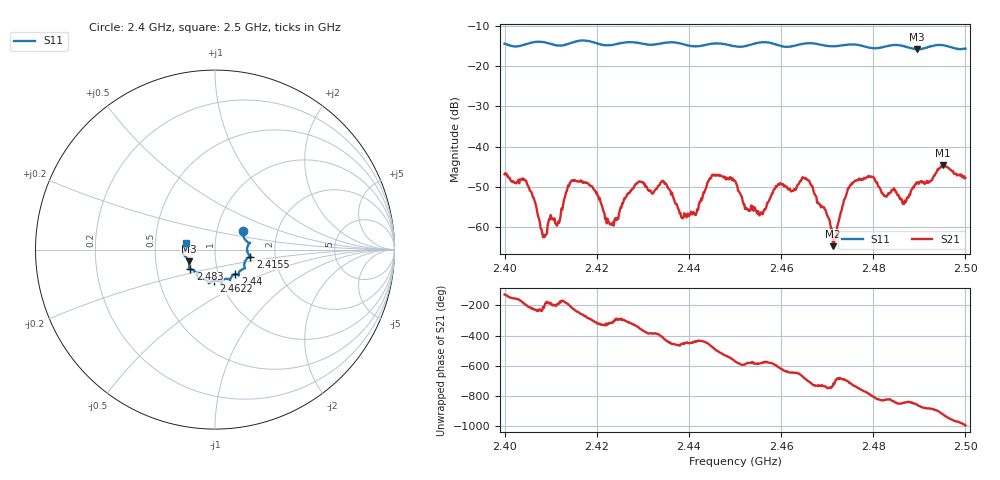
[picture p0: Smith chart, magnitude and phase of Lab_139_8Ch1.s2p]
# Hz S RI R 50
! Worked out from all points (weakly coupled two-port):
!   601 points, 2.4 GHz to 2.5 GHz, reference 50 ohm
!   highest |S21| = -44.57 dB at 2.4952 GHz (marker M1); lowest = -64.6 dB at 2.4713 GHz (marker M2)
!   lowest |S11| = -15.9 dB at 2.4895 GHz (marker M3), VSWR 1.38, Z = 36.9 - j4.99 ohm
!   |S11| at or under -10 dB: start of sweep to end of sweep
!   S12 and S22 are empty: the file has one direction only
!   S11 on the Smith chart (normalised r, x): 2.4 GHz: 1.33, +0.29; 2.4155 GHz: 1.49, -0.12; 2.44 GHz: 1.20, -0.34; 2.4622 GHz: 0.93, -0.33; 2.483 GHz: 0.74, -0.17; 2.5 GHz: 0.72, +0.06
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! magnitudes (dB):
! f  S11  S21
! 2.4 GHz  -14.5  -46.8
! 2.4047 GHz  -14.6  -48.4
! 2.4087 GHz  -14.2  -62.4
! 2.4155 GHz  -13.9  -48.4
! 2.4167 GHz  -13.7  -48.6
! 2.4232 GHz  -14.8  -59.3
! 2.4288 GHz  -14.3  -49.0
! 2.4333 GHz  -14.6  -49.7
! 2.44 GHz  -15.0  -57.2
! 2.445 GHz  -14.5  -47.1
! 2.45 GHz  -15.1  -48.5
! 2.4553 GHz  -14.2  -57.0
! 2.4593 GHz  -14.9  -49.3
! 2.4622 GHz  -15.2  -51.1
! 2.4667 GHz  -14.4  -49.8
! 2.4713 GHz  -15.1  -64.6
! 2.4758 GHz  -14.7  -48.7
! 2.483 GHz  -15.1  -52.0
! 2.4833 GHz  -15.0  -51.5
! 2.4895 GHz  -15.9  -48.8
! 2.4952 GHz  -14.9  -44.6
! 2.5 GHz  -15.7  -47.7
